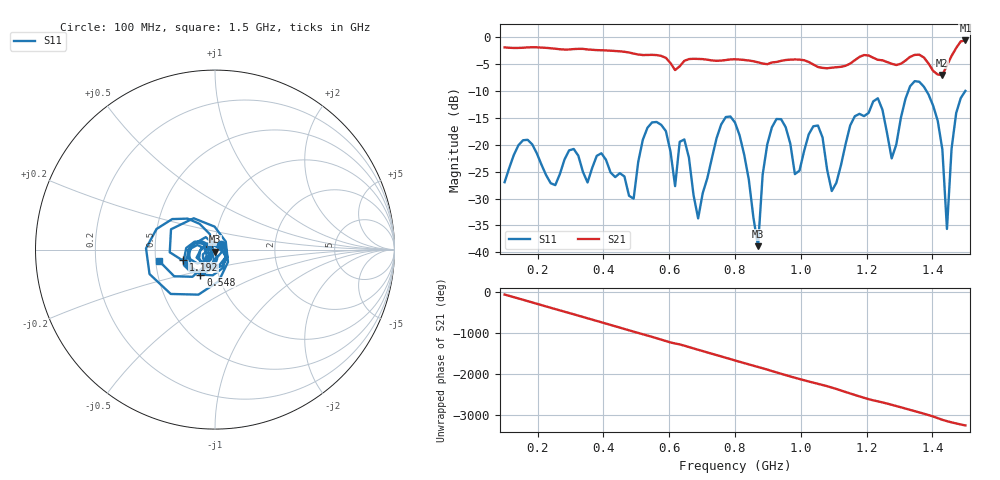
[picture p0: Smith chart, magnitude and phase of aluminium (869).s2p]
! NanoVNA-App
! Date: 2025-09-25 15:02:03
! Start: 100MHz Stop: 1,5GHz Points: 101
! S-Parameter data: F S11 S21 S12 S22
# Hz S RI R 50
!  Frequency  S11_Real  S11_Imag  S21_Real  S21_Imag  S12_Real  S12_Imag  S22_Real  S22_Imag
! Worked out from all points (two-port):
!   101 points, 100 MHz to 1.5 GHz, reference 50 ohm
!   highest |S21| = -0.63 dB at 1.5 GHz (marker M1); lowest = -7.0 dB at 1.43 GHz (marker M2)
!   |S21| within 3 dB of the highest: start of sweep to 581 MHz; 1.457 GHz to end of sweep (the widest 2 of 4)
!   lowest |S11| = -38.8 dB at 870 MHz (marker M3), VSWR 1.02, Z = 50.1 - j1.14 ohm
!   |S11| at or under -10 dB: start of sweep to 1.327 GHz; 1.382 GHz to end of sweep
!   S12 and S22 are empty: the file has one direction only
!   S11 on the Smith chart (normalised r, x): 100 MHz: 1.07, +0.06; 548 MHz: 0.82, -0.23; 1.192 GHz: 0.70, -0.08; 1.5 GHz: 0.52, -0.08
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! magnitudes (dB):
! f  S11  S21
! 100 MHz  -27.0  -1.9
! 156 MHz  -19.2  -2.0
! 338 MHz  -25.0  -2.2
! 492 MHz  -30.0  -3.1
! 548 MHz  -15.9  -3.3
! 576 MHz  -16.3  -3.5
! 618 MHz  -27.7  -6.1
! 646 MHz  -19.0  -4.4
! 688 MHz  -33.7  -4.1
! 800 MHz  -15.9  -4.1
! 870 MHz  -38.8  -4.7
! 912 MHz  -16.8  -4.7
! 982 MHz  -25.5  -4.2
! 1.038 GHz  -16.6  -5.1
! 1.094 GHz  -28.6  -5.7
! 1.192 GHz  -14.7  -3.3
! 1.276 GHz  -22.5  -5.0
! 1.346 GHz  -8.2  -3.3
! 1.43 GHz  -20.9  -7.0
! 1.444 GHz  -35.6  -5.3
! 1.472 GHz  -14.1  -2.0
! 1.5 GHz  -10.0  -0.6
